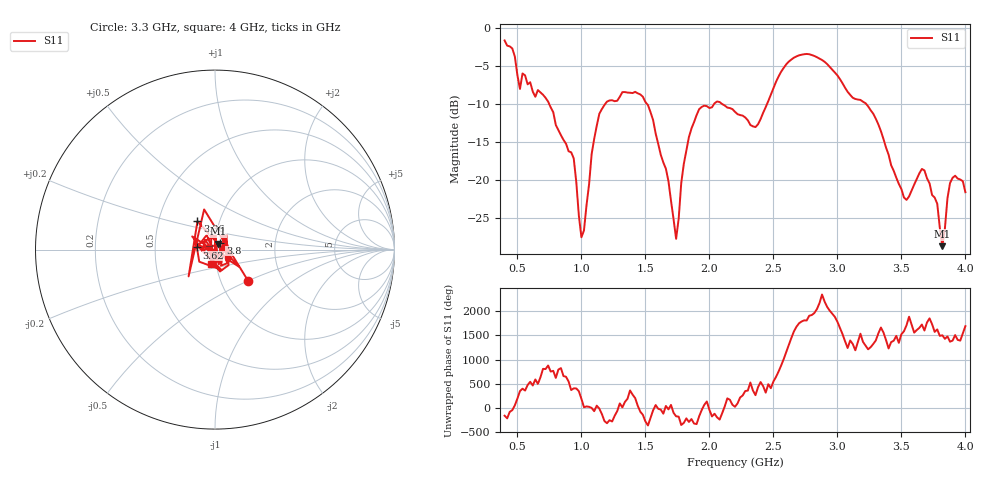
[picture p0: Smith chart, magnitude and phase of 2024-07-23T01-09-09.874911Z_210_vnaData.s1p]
!Created with skrf (http://scikit-rf.org).
# Hz S RI R 50.0
!freq ReS11 ImS11
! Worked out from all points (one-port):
!   181 points, 400 MHz to 4 GHz, reference 50 ohm
!   lowest |S11| = -28.7 dB at 3.82 GHz (marker M1), VSWR 1.08, Z = 51.5 + j3.42 ohm
!   |S11| at or under -10 dB: 748 MHz to 1.186 GHz (438.5 MHz wide, 45.3 % of centre); 1.512 GHz to 2.037 GHz (524.8 MHz wide, 29.6 % of centre); 3.224 GHz to end of sweep (the widest 3 of 4)
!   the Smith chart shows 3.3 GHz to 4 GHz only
!   S11 on the Smith chart (normalised r, x): 3.3 GHz: 1.35, -0.50; 3.36 GHz: 0.79, +0.26; 3.62 GHz: 0.82, +0.02; 3.8 GHz: 1.06, +0.08; 4 GHz: 0.95, -0.15
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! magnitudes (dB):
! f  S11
! 400 MHz  -1.7
! 520 MHz  -8.0
! 700 MHz  -8.8
! 860 MHz  -14.7
! 940 MHz  -17.1
! 1 GHz  -27.5
! 1.14 GHz  -11.3
! 1.3 GHz  -9.1
! 1.52 GHz  -10.2
! 1.66 GHz  -18.5
! 1.74 GHz  -27.7
! 1.76 GHz  -25.1
! 1.8 GHz  -17.9
! 1.92 GHz  -10.7
! 2.2 GHz  -11.0
! 2.36 GHz  -13.0
! 2.66 GHz  -3.9
! 2.88 GHz  -4.2
! 3.1 GHz  -8.8
! 3.3 GHz  -11.9
! 3.36 GHz  -14.6
! 3.56 GHz  -22.2
! 3.62 GHz  -19.9
! 3.68 GHz  -18.7
! 3.8 GHz  -26.2
! 3.82 GHz  -28.7
! 3.88 GHz  -20.4
! 4 GHz  -21.6
